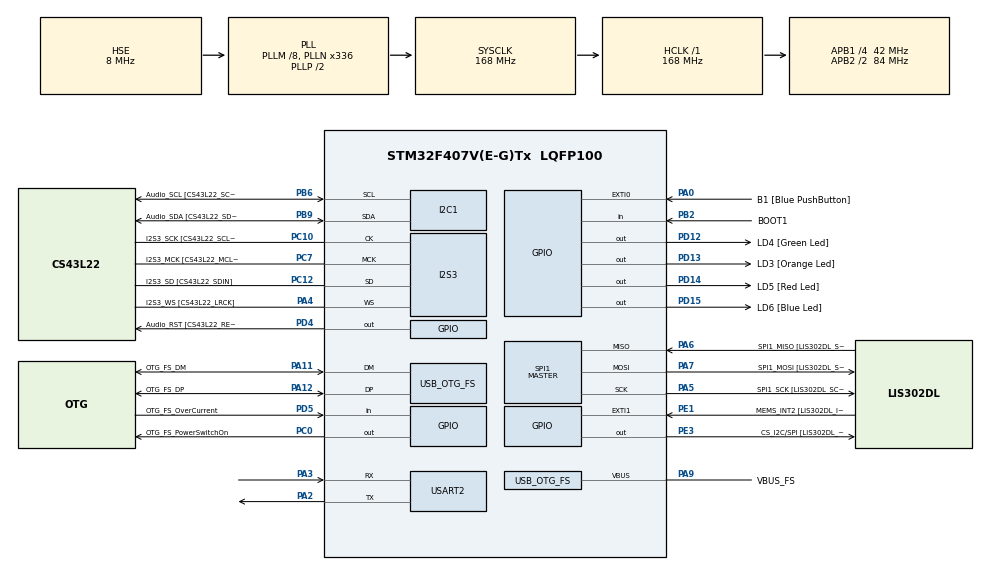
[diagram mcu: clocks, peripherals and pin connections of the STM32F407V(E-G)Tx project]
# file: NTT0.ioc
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I2S3.AudioFreq-Half_Duplex_Master=I2S_AUDIOFREQ_96K
I2S3.ErrorAudioFreq=-2.34 %
I2S3.ErrorAudioFreq-Half_Duplex_Master=0.8 %
I2S3.FullDuplexMode=I2S_FULLDUPLEXMODE_DISABLE
I2S3.Instance=SPI$Index
I2S3.RealAudioFreq=93.75 KHz
I2S3.RealAudioFreq-Half_Duplex_Master=96.774 KHz
I2S3.VirtualMode=I2S_MODE_MASTER
Mcu.Family=STM32F4
Mcu.Name=STM32F407V(E-G)Tx
Mcu.Package=LQFP100
NVIC.EXTI0_IRQn=true\:0\:0\:false\:false\:true\:true\:true\:true
NVIC.OTG_FS_IRQn=true\:0\:0\:false\:false\:true\:true\:true\:true
NVIC.PriorityGroup=NVIC_PRIORITYGROUP_0
NVIC.USART2_IRQn=true\:0\:0\:false\:false\:true\:true\:true\:true
PA0-WKUP.GPIO_Label=B1 [Blue PushButton]
PA0-WKUP.GPIO_ModeDefaultEXTI=GPIO_MODE_IT_FALLING
PA0-WKUP.GPIO_PuPd=GPIO_PULLDOWN
PA0-WKUP.Signal=GPXTI0
PA10.GPIO_Label=OTG_FS_ID
PA10.GPIO_Mode=GPIO_MODE_AF_PP
PA10.GPIO_PuPd=GPIO_NOPULL
PA10.GPIO_Speed=GPIO_SPEED_FREQ_LOW
PA10.Signal=USB_OTG_FS_ID
PA11.GPIO_Label=OTG_FS_DM
PA11.GPIO_Mode=GPIO_MODE_AF_PP
PA11.GPIO_PuPd=GPIO_NOPULL
PA11.GPIO_Speed=GPIO_SPEED_FREQ_LOW
PA11.Mode=Host_Only
PA11.Signal=USB_OTG_FS_DM
PA12.GPIO_Label=OTG_FS_DP
PA12.GPIO_Mode=GPIO_MODE_AF_PP
PA12.GPIO_PuPd=GPIO_NOPULL
PA12.GPIO_Speed=GPIO_SPEED_FREQ_LOW
PA12.Mode=Host_Only
PA12.Signal=USB_OTG_FS_DP
PA13.GPIO_Label=SWDIO
PA13.Mode=Serial_Wire
PA13.Signal=SYS_JTMS-SWDIO
PA14.GPIO_Label=SWCLK
PA14.Mode=Serial_Wire
PA14.Signal=SYS_JTCK-SWCLK
PA2.Mode=Asynchronous
PA2.Signal=USART2_TX
PA3.Mode=Asynchronous
PA3.Signal=USART2_RX
PA4.GPIO_Label=I2S3_WS [CS43L22_LRCK]
PA4.GPIO_Mode=GPIO_MODE_AF_PP
PA4.GPIO_PuPd=GPIO_NOPULL
PA4.GPIO_Speed=GPIO_SPEED_FREQ_LOW
PA4.Mode=Half_Duplex_Master
PA4.Signal=I2S3_WS
PA5.GPIO_Label=SPI1_SCK [LIS302DL_SCL/SPC]
PA5.GPIO_Mode=GPIO_MODE_AF_PP
PA5.GPIO_PuPd=GPIO_NOPULL
PA5.GPIO_Speed=GPIO_SPEED_FREQ_LOW
PA5.Mode=Full_Duplex_Master
PA5.Signal=SPI1_SCK
PA6.GPIO_Label=SPI1_MISO [LIS302DL_SDO]
PA6.GPIO_Mode=GPIO_MODE_AF_PP
PA6.GPIO_PuPd=GPIO_NOPULL
PA6.GPIO_Speed=GPIO_SPEED_FREQ_LOW
PA6.Mode=Full_Duplex_Master
PA6.Signal=SPI1_MISO
PA7.GPIO_Label=SPI1_MOSI [LIS302DL_SDA/SDI/SDO]
PA7.GPIO_Mode=GPIO_MODE_AF_PP
PA7.GPIO_PuPd=GPIO_NOPULL
PA7.GPIO_Speed=GPIO_SPEED_FREQ_LOW
PA7.Mode=Full_Duplex_Master
PA7.Signal=SPI1_MOSI
PA9.GPIO_Label=VBUS_FS
PA9.GPIO_Mode=GPIO_MODE_INPUT
PA9.GPIO_PuPd=GPIO_NOPULL
PA9.Mode=Activate_VBUS
PA9.Signal=USB_OTG_FS_VBUS
PB10.GPIO_Label=CLK_IN [MP45DT02_CLK]
PB10.GPIO_Mode=GPIO_MODE_AF_PP
PB10.GPIO_PuPd=GPIO_NOPULL
PB10.GPIO_Speed=GPIO_SPEED_FREQ_LOW
PB10.Signal=I2S2_CK
PB2.GPIO_Label=BOOT1
PB2.GPIO_Mode=GPIO_MODE_INPUT
PB2.GPIO_PuPd=GPIO_NOPULL
PB2.Signal=GPIO_Input
PB3.GPIO_Label=SWO
PB3.Signal=SYS_JTDO-SWO
PB6.GPIO_Label=Audio_SCL [CS43L22_SCL]
PB6.GPIO_Mode=GPIO_MODE_AF_OD
PB6.GPIO_Pu=GPIO_PULLUP
PB6.GPIO_PuPd=GPIO_NOPULL
PB6.GPIO_Speed=GPIO_SPEED_FREQ_LOW
PB6.Mode=I2C
PB6.Signal=I2C1_SCL
PB9.GPIO_Label=Audio_SDA [CS43L22_SDA]
PB9.GPIO_Mode=GPIO_MODE_AF_OD
PB9.GPIO_Pu=GPIO_PULLUP
PB9.GPIO_PuPd=GPIO_NOPULL
PB9.GPIO_Speed=GPIO_SPEED_FREQ_LOW
PB9.Mode=I2C
PB9.Signal=I2C1_SDA
PC0.GPIO_Label=OTG_FS_PowerSwitchOn
PC0.GPIO_PuPd=GPIO_NOPULL
PC0.GPIO_Speed=GPIO_SPEED_FREQ_LOW
PC0.PinState=GPIO_PIN_SET
PC0.Signal=GPIO_Output
PC10.GPIO_Label=I2S3_SCK [CS43L22_SCLK]
PC10.GPIO_Mode=GPIO_MODE_AF_PP
PC10.GPIO_PuPd=GPIO_NOPULL
PC10.GPIO_Speed=GPIO_SPEED_FREQ_LOW
PC10.Mode=Half_Duplex_Master
PC10.Signal=I2S3_CK
PC12.GPIO_Label=I2S3_SD [CS43L22_SDIN]
PC12.GPIO_Mode=GPIO_MODE_AF_PP
PC12.GPIO_PuPd=GPIO_NOPULL
PC12.GPIO_Speed=GPIO_SPEED_FREQ_LOW
PC12.Mode=Half_Duplex_Master
PC12.Signal=I2S3_SD
PC14-OSC32_IN.GPIO_Label=PC14-OSC32_IN
PC14-OSC32_IN.Mode=LSE-External-Oscillator
PC14-OSC32_IN.Signal=RCC_OSC32_IN
PC15-OSC32_OUT.GPIO_Label=PC15-OSC32_OUT
PC15-OSC32_OUT.Mode=LSE-External-Oscillator
PC15-OSC32_OUT.Signal=RCC_OSC32_OUT
PC3.GPIO_Label=PDM_OUT [MP45DT02_DOUT]
PC3.GPIO_Mode=GPIO_MODE_AF_PP
PC3.GPIO_PuPd=GPIO_NOPULL
PC3.GPIO_Speed=GPIO_SPEED_FREQ_LOW
PC3.Signal=I2S2_SD
PC7.GPIO_Label=I2S3_MCK [CS43L22_MCLK]
PC7.GPIO_Mode=GPIO_MODE_AF_PP
PC7.GPIO_PuPd=GPIO_NOPULL
PC7.GPIO_Speed=GPIO_SPEED_FREQ_LOW
PC7.Mode=Master_Clock_Activated
PC7.Signal=I2S3_MCK
PD12.GPIO_Label=LD4 [Green Led]
PD12.GPIO_PuPd=GPIO_NOPULL
PD12.GPIO_Speed=GPIO_SPEED_FREQ_LOW
PD12.Signal=GPIO_Output
PD13.GPIO_Label=LD3 [Orange Led]
PD13.GPIO_PuPd=GPIO_NOPULL
PD13.GPIO_Speed=GPIO_SPEED_FREQ_LOW
PD13.Signal=GPIO_Output
PD14.GPIO_Label=LD5 [Red Led]
PD14.GPIO_PuPd=GPIO_NOPULL
PD14.GPIO_Speed=GPIO_SPEED_FREQ_LOW
PD14.Signal=GPIO_Output
PD15.GPIO_Label=LD6 [Blue Led]
PD15.GPIO_PuPd=GPIO_NOPULL
PD15.GPIO_Speed=GPIO_SPEED_FREQ_LOW
PD15.Signal=GPIO_Output
PD4.GPIO_Label=Audio_RST [CS43L22_RESET]
PD4.GPIO_PuPd=GPIO_NOPULL
PD4.GPIO_Speed=GPIO_SPEED_FREQ_LOW
PD4.Signal=GPIO_Output
PD5.GPIO_Label=OTG_FS_OverCurrent
PD5.GPIO_Mode=GPIO_MODE_INPUT
PD5.GPIO_PuPd=GPIO_NOPULL
PD5.Signal=GPIO_Input
PE1.GPIO_Label=MEMS_INT2 [LIS302DL_INT2]
PE1.GPIO_ModeDefaultEXTI=GPIO_MODE_EVT_RISING
PE1.GPIO_PuPd=GPIO_NOPULL
PE1.Signal=GPXTI1
PE3.GPIO_Label=CS_I2C/SPI [LIS302DL_CS_I2C/SPI]
PE3.GPIO_PuPd=GPIO_NOPULL
PE3.GPIO_Speed=GPIO_SPEED_FREQ_LOW
PE3.Signal=GPIO_Output
PH0-OSC_IN.GPIO_Label=PH0-OSC_IN
PH0-OSC_IN.Mode=HSE-External-Oscillator
PH0-OSC_IN.Signal=RCC_OSC_IN
PH1-OSC_OUT.GPIO_Label=PH1-OSC_OUT
PH1-OSC_OUT.Mode=HSE-External-Oscillator
PH1-OSC_OUT.Signal=RCC_OSC_OUT
ProjectManager.HeapSize=0x200
ProjectManager.StackSize=0x400
ProjectManager.TargetToolchain=STM32CubeIDE
RCC.48MHZClocksFreq_Value=48000000
RCC.AHBFreq_Value=168000000
RCC.APB1CLKDivider=RCC_HCLK_DIV4
RCC.APB1Freq_Value=42000000
RCC.APB1TimFreq_Value=84000000
RCC.APB2CLKDivider=RCC_HCLK_DIV2
RCC.APB2Freq_Value=84000000
RCC.APB2TimFreq_Value=168000000
RCC.CortexFreq_Value=168000000
RCC.HCLKFreq_Value=168000000
RCC.HSE_VALUE=8000000
RCC.HSI_VALUE=16000000
RCC.PLLM=8
RCC.PLLN=336
RCC.PLLQ=7
RCC.SYSCLKFreq_VALUE=168000000
RCC.SYSCLKSource=RCC_SYSCLKSOURCE_PLLCLK
RCC.VCOOutputFreq_Value=336000000
SPI1.BaudRatePrescaler-Full_Duplex_Master=SPI_BAUDRATEPRESCALER_2
SPI1.CalculateBaudRate-Full_Duplex_Master=42.0 MBits/s
SPI1.Direction=SPI_DIRECTION_2LINES
SPI1.Mode=SPI_MODE_MASTER
SPI1.Mode-Full_Duplex_Master=SPI_MODE_MASTER
SPI1.VirtualType=VM_MASTER
TIM2.Period=10000000 - 1
TIM2.Prescaler=84 - 1
USART2.VirtualMode=VM_ASYNC
USB_HOST.BSP.number=1
USB_HOST.USBH_HandleTypeDef-CDC_FS=hUsbHostFS
USB_HOST.VirtualModeFS=Cdc
USB_HOST0.BSP.STBoard=false
USB_HOST0.BSP.api=Unknown
USB_HOST0.BSP.instance=PC0
USB_HOST0.BSP.ip=GPIO
USB_HOST0.BSP.mode=Output
USB_HOST0.BSP.name=Drive_VBUS_FS
USB_HOST0.BSP.solution=PC0
USB_OTG_FS.VirtualMode=Host_Only
USB_OTG_FS.phy_itface=HCD_PHY_EMBEDDED
VP_RNG_VS_RNG.Mode=RNG_Activate
VP_TIM2_VS_ClockSourceINT.Mode=Internal
VP_USB_HOST_VS_USB_HOST_CDC_FS.Mode=CDC_FS
board=STM32F407G-DISC1

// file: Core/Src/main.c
/* USER CODE BEGIN Header */
/**
  ******************************************************************************
  * @file           : main.c
  * @brief          : Main program body
  ******************************************************************************
  * @attention
  *
  * Copyright (c) 2024 STMicroelectronics.
  * All rights reserved.
  *
  * This software is licensed under terms that can be found in the LICENSE file
  * in the root directory of this software component.
  * If no LICENSE file comes with this software, it is provided AS-IS.
  *
  ******************************************************************************
  */
/* USER CODE END Header */
#include "main.h"
#include "usb_host.h"

/* USER CODE BEGIN Includes */

#include <stdio.h>
#include <math.h>
#include <string.h>

/* USER CODE END Includes */

I2C_HandleTypeDef hi2c1;

I2S_HandleTypeDef hi2s3;

RNG_HandleTypeDef hrng;

SPI_HandleTypeDef hspi1;

TIM_HandleTypeDef htim2;

UART_HandleTypeDef huart2;

/* USER CODE BEGIN PV */

//int arr1[] = {1577, 3104, 1722, 165, 1060, 2094, 1990, 1658, 3210, 1242, 1952, 1466, 2389, 894, 2067, 570, 1154, 572, 3095, 388, 2532, 3274, 1026, 2181, 2888, 3318, 2465, 601, 1270, 404, 2989, 302, 2801, 1352, 1933, 2292, 412, 1449, 1778, 1295, 2502, 2623, 837, 2263, 1953, 1813, 2135, 1066, 255, 3297, 2247, 57, 382, 2947, 1633, 2909, 3215, 2736, 2561, 4, 2506, 2021, 1364, 999, 2991, 1332, 2882, 257, 782, 2324, 908, 977, 3290, 583, 3289, 2224, 1834, 373, 329, 1310, 2080, 2004, 446, 1234, 2257, 1192, 2894, 511, 2242, 1362, 2213, 832, 3274, 2470, 2241, 2406, 1178, 1822, 375, 2442, 3268, 1576, 1298, 2357, 991, 1189, 753, 775, 764, 135, 2509, 2689, 1065, 1951, 282, 367, 2780, 3103, 533, 612, 158, 328, 2864, 2214, 2799, 1602, 2888, 2148, 1128, 2137, 3324, 964, 881, 2783, 2415, 1717, 2374, 1127, 1845, 2017, 2704, 2626, 2868, 3249, 1463, 337, 1328, 2509, 472, 1992, 2404, 2581, 1373, 779, 995, 66, 2996, 1110, 479, 2889, 903, 1523, 3254, 698, 1362, 1745, 254, 412, 3207, 599, 2857, 896, 185, 2350, 2597, 2188, 2466, 2787, 303, 109, 509, 2600, 772, 2483, 2359, 490, 1602, 374, 1516, 475, 149, 2480, 88, 797, 757, 2941, 507, 1962, 862, 2978, 3279, 250, 2782, 93, 2229, 1743, 2541, 415, 1064, 286, 904, 294, 2649, 1233, 1434, 1786, 738, 250, 2062, 1913, 161, 2443, 413, 2864, 1602, 816, 1065, 1468, 2996, 1926, 2333, 693, 2857, 2755, 833, 3143, 237, 3230, 2769, 648, 663, 1402, 2168, 1026, 480, 2444, 1811, 2726, 716, 54, 1931, 2790, 1678, 2331, 2083, 1275};
//int arr2[] = {1896, 2511, 1529, 1094, 567, 762, 2771, 26, 1385, 2059, 1899, 2476, 331, 1368, 2270, 2525, 2867, 167, 2982, 1552, 693, 2881, 1851, 2969, 1730, 643, 689, 974, 210, 454, 542, 2073, 2418, 259, 3171, 2819, 1571, 3234, 3056, 416, 1192, 839, 2761, 918, 2972, 3248, 1727, 359, 3164, 1092, 859, 1624, 1151, 1399, 3315, 176, 817, 2903, 21, 1684, 224, 1551, 2014, 569, 96, 969, 1739, 3015, 458, 2444, 15, 496, 3130, 2370, 809, 831, 1352, 33, 342, 545, 2210, 71, 2051, 347, 2346, 2034, 2201, 811, 1720, 281, 1630, 787, 2616, 3133, 382, 2870, 2374, 595, 706, 2494, 2947, 168, 221, 1105, 2273, 2798, 2483, 611, 3052, 1099, 3018, 2356, 140, 496, 2889, 1648, 969, 662, 2503, 2068, 176, 3014, 1498, 2761, 2138, 2417, 2315, 3172, 2816, 355, 1422, 450, 2392, 1497, 1848, 860, 1647, 814, 2352, 3054, 75, 1552, 3274, 2489, 1346, 2, 1775, 457, 874, 908, 1818, 1104, 1330, 363, 1258, 2578, 1166, 422, 2119, 3211, 225, 104, 1562, 3197, 2295, 3307, 1755, 2037, 1417, 2905, 3185, 1016, 2318, 3021, 271, 1740, 2653, 945, 392, 3115, 1642, 2088, 1527, 2295, 1512, 569, 2734, 1189, 700, 2837, 1060, 120, 206, 3316, 707, 1077, 672, 492, 2484, 607, 48, 199, 249, 1844, 854, 3221, 1592, 1205, 2504, 60, 3271, 1452, 1167, 576, 1969, 2301, 1137, 562, 354, 3061, 2277, 1212, 2850, 483, 268, 1720, 1848, 583, 2882, 2301, 3130, 3255, 1568, 2409, 3288, 692, 2716, 2930, 1122, 3160, 2446, 2492, 2025, 1428, 406, 198, 1133, 2166, 525, 709, 3270, 2579, 345, 664, 3195, 3234};
//int result1[256], result2[256], result3[256], result4[256];

int randArr[256], r1[256], r2[256];

//int iteration = 10;
double double_precision = 1000;
//char arrNum = 1;
int last_gpio_exti = 0;

/* USER CODE END PV */

void SystemClock_Config(void);
static void MX_GPIO_Init(void);
static void MX_I2C1_Init(void);
static void MX_I2S3_Init(void);
static void MX_SPI1_Init(void);
static void MX_USART2_UART_Init(void);
static void MX_TIM2_Init(void);
static void MX_RNG_Init(void);
void MX_USB_HOST_Process(void);

/* USER CODE BEGIN PFP */

void printArray(int arr[], char arrName[], int arrSize);
void arrCopy(const int from[], int to[], int arrSize);
int bit_reverse_7(int num);
int positive_modulo(int num, int modulus);
int modular_power(int x, int y, int modulus);
void ntt(int arr[], int result[]);
void intt(int arr[], int result[]);

//void multiple_calculations_arr1(int iter);
//void multiple_calculations_arr2(int iter);
//void doArr1();
//void doArr2();

//void turn_on_one_LED_board(int ledNum);

//void timing_and_iteration_of_arr1_and_arr2();

void generate_random_array(int arr[], int size, uint32_t min, uint32_t max);
void random_array_ntt_intt();

/* USER CODE END PFP */

int main(void)
{

  /* MCU Configuration--------------------------------------------------------*/

  /* Reset of all peripherals, Initializes the Flash interface and the Systick. */
  HAL_Init();

  /* Configure the system clock */
  SystemClock_Config();

  /* Initialize all configured peripherals */
  MX_GPIO_Init();
  MX_I2C1_Init();
  MX_I2S3_Init();
  MX_SPI1_Init();
  MX_USB_HOST_Init();
  MX_USART2_UART_Init();
  MX_TIM2_Init();
  MX_RNG_Init();
  /* USER CODE BEGIN 2 */

//  HAL_TIM_Base_Start(&htim2);
//  int elapsed_time;
//  HAL_TIM_Base_Start(&htim2);
//  elapsed_time = __HAL_TIM_GET_COUNTER(&htim2);
//  HAL_Delay(2100);
//  elapsed_time = __HAL_TIM_GET_COUNTER(&htim2) - elapsed_time;
//
//  char str[100];
//  sprintf(str, "%.3f", ((double)elapsed_time / double_precision));
//  HAL_UART_Transmit(&huart2, (const uint8_t*)str, strlen(str), 200);

  /* USER CODE END 2 */

  /* Infinite loop */
  while (1)
  {
    MX_USB_HOST_Process();

    /* USER CODE BEGIN 3 */

//    HAL_GPIO_WritePin(GPIOD, GPIO_PIN_15, GPIO_PIN_SET);
//    HAL_Delay(1000);
//    HAL_GPIO_WritePin(GPIOD, GPIO_PIN_15, GPIO_PIN_RESET);
//
//    HAL_GPIO_WritePin(GPIOD, GPIO_PIN_14, GPIO_PIN_SET);
//    HAL_Delay(1000);
//    HAL_GPIO_WritePin(GPIOD, GPIO_PIN_14, GPIO_PIN_RESET);
//
//    HAL_GPIO_WritePin(GPIOD, GPIO_PIN_13, GPIO_PIN_SET);
//    HAL_Delay(1000);
//    HAL_GPIO_WritePin(GPIOD, GPIO_PIN_13, GPIO_PIN_RESET);
//
//    HAL_GPIO_WritePin(GPIOD, GPIO_PIN_12, GPIO_PIN_SET);
//    HAL_Delay(1000);
//    HAL_GPIO_WritePin(GPIOD, GPIO_PIN_12, GPIO_PIN_RESET);

//    uint32_t myRandNum;
//    HAL_RNG_GenerateRandomNumber(&hrng, &myRandNum);
//    myRandNum %= 3329;
//    char str[5];
//    sprintf(str, "%d\n", (int)myRandNum);
//    HAL_UART_Transmit(&huart2, (const uint8_t*)str, strlen(str), 200);
//    HAL_Delay(1000);
  }
  /* USER CODE END 3 */
}

void SystemClock_Config(void)
{
  RCC_OscInitTypeDef RCC_OscInitStruct = {0};
  RCC_ClkInitTypeDef RCC_ClkInitStruct = {0};

  /** Configure the main internal regulator output voltage
  */
  __HAL_RCC_PWR_CLK_ENABLE();
  __HAL_PWR_VOLTAGESCALING_CONFIG(PWR_REGULATOR_VOLTAGE_SCALE1);

  /** Initializes the RCC Oscillators according to the specified parameters
  * in the RCC_OscInitTypeDef structure.
  */
  RCC_OscInitStruct.OscillatorType = RCC_OSCILLATORTYPE_HSE;
  RCC_OscInitStruct.HSEState = RCC_HSE_ON;
  RCC_OscInitStruct.PLL.PLLState = RCC_PLL_ON;
  RCC_OscInitStruct.PLL.PLLSource = RCC_PLLSOURCE_HSE;
  RCC_OscInitStruct.PLL.PLLM = 8;
  RCC_OscInitStruct.PLL.PLLN = 336;
  RCC_OscInitStruct.PLL.PLLP = RCC_PLLP_DIV2;
  RCC_OscInitStruct.PLL.PLLQ = 7;
  if (HAL_RCC_OscConfig(&RCC_OscInitStruct) != HAL_OK)
  {
    Error_Handler();
  }

  /** Initializes the CPU, AHB and APB buses clocks
  */
  RCC_ClkInitStruct.ClockType = RCC_CLOCKTYPE_HCLK|RCC_CLOCKTYPE_SYSCLK
                              |RCC_CLOCKTYPE_PCLK1|RCC_CLOCKTYPE_PCLK2;
  RCC_ClkInitStruct.SYSCLKSource = RCC_SYSCLKSOURCE_PLLCLK;
  RCC_ClkInitStruct.AHBCLKDivider = RCC_SYSCLK_DIV1;
  RCC_ClkInitStruct.APB1CLKDivider = RCC_HCLK_DIV4;
  RCC_ClkInitStruct.APB2CLKDivider = RCC_HCLK_DIV2;

  if (HAL_RCC_ClockConfig(&RCC_ClkInitStruct, FLASH_LATENCY_5) != HAL_OK)
  {
    Error_Handler();
  }
}

static void MX_I2C1_Init(void)
{

  hi2c1.Instance = I2C1;
  hi2c1.Init.ClockSpeed = 100000;
  hi2c1.Init.DutyCycle = I2C_DUTYCYCLE_2;
  hi2c1.Init.OwnAddress1 = 0;
  hi2c1.Init.AddressingMode = I2C_ADDRESSINGMODE_7BIT;
  hi2c1.Init.DualAddressMode = I2C_DUALADDRESS_DISABLE;
  hi2c1.Init.OwnAddress2 = 0;
  hi2c1.Init.GeneralCallMode = I2C_GENERALCALL_DISABLE;
  hi2c1.Init.NoStretchMode = I2C_NOSTRETCH_DISABLE;
  if (HAL_I2C_Init(&hi2c1) != HAL_OK)
  {
    Error_Handler();
  }

}

static void MX_I2S3_Init(void)
{

  hi2s3.Instance = SPI3;
  hi2s3.Init.Mode = I2S_MODE_MASTER_TX;
  hi2s3.Init.Standard = I2S_STANDARD_PHILIPS;
  hi2s3.Init.DataFormat = I2S_DATAFORMAT_16B;
  hi2s3.Init.MCLKOutput = I2S_MCLKOUTPUT_ENABLE;
  hi2s3.Init.AudioFreq = I2S_AUDIOFREQ_96K;
  hi2s3.Init.CPOL = I2S_CPOL_LOW;
  hi2s3.Init.ClockSource = I2S_CLOCK_PLL;
  hi2s3.Init.FullDuplexMode = I2S_FULLDUPLEXMODE_DISABLE;
  if (HAL_I2S_Init(&hi2s3) != HAL_OK)
  {
    Error_Handler();
  }

}

static void MX_RNG_Init(void)
{

  hrng.Instance = RNG;
  if (HAL_RNG_Init(&hrng) != HAL_OK)
  {
    Error_Handler();
  }

}

static void MX_SPI1_Init(void)
{

  /* SPI1 parameter configuration*/
  hspi1.Instance = SPI1;
  hspi1.Init.Mode = SPI_MODE_MASTER;
  hspi1.Init.Direction = SPI_DIRECTION_2LINES;
  hspi1.Init.DataSize = SPI_DATASIZE_8BIT;
  hspi1.Init.CLKPolarity = SPI_POLARITY_LOW;
  hspi1.Init.CLKPhase = SPI_PHASE_1EDGE;
  hspi1.Init.NSS = SPI_NSS_SOFT;
  hspi1.Init.BaudRatePrescaler = SPI_BAUDRATEPRESCALER_2;
  hspi1.Init.FirstBit = SPI_FIRSTBIT_MSB;
  hspi1.Init.TIMode = SPI_TIMODE_DISABLE;
  hspi1.Init.CRCCalculation = SPI_CRCCALCULATION_DISABLE;
  hspi1.Init.CRCPolynomial = 10;
  if (HAL_SPI_Init(&hspi1) != HAL_OK)
  {
    Error_Handler();
  }

}

static void MX_TIM2_Init(void)
{

  TIM_ClockConfigTypeDef sClockSourceConfig = {0};
  TIM_MasterConfigTypeDef sMasterConfig = {0};

  htim2.Instance = TIM2;
  htim2.Init.Prescaler = 84 - 1;
  htim2.Init.CounterMode = TIM_COUNTERMODE_UP;
  htim2.Init.Period = 10000000 - 1;
  htim2.Init.ClockDivision = TIM_CLOCKDIVISION_DIV1;
  htim2.Init.AutoReloadPreload = TIM_AUTORELOAD_PRELOAD_DISABLE;
  if (HAL_TIM_Base_Init(&htim2) != HAL_OK)
  {
    Error_Handler();
  }
  sClockSourceConfig.ClockSource = TIM_CLOCKSOURCE_INTERNAL;
  if (HAL_TIM_ConfigClockSource(&htim2, &sClockSourceConfig) != HAL_OK)
  {
    Error_Handler();
  }
  sMasterConfig.MasterOutputTrigger = TIM_TRGO_RESET;
  sMasterConfig.MasterSlaveMode = TIM_MASTERSLAVEMODE_DISABLE;
  if (HAL_TIMEx_MasterConfigSynchronization(&htim2, &sMasterConfig) != HAL_OK)
  {
    Error_Handler();
  }

}

static void MX_USART2_UART_Init(void)
{

  huart2.Instance = USART2;
  huart2.Init.BaudRate = 115200;
  huart2.Init.WordLength = UART_WORDLENGTH_8B;
  huart2.Init.StopBits = UART_STOPBITS_1;
  huart2.Init.Parity = UART_PARITY_NONE;
  huart2.Init.Mode = UART_MODE_TX_RX;
  huart2.Init.HwFlowCtl = UART_HWCONTROL_NONE;
  huart2.Init.OverSampling = UART_OVERSAMPLING_16;
  if (HAL_UART_Init(&huart2) != HAL_OK)
  {
    Error_Handler();
  }

}

static void MX_GPIO_Init(void)
{
  GPIO_InitTypeDef GPIO_InitStruct = {0};

  /* GPIO Ports Clock Enable */
  __HAL_RCC_GPIOE_CLK_ENABLE();
  __HAL_RCC_GPIOC_CLK_ENABLE();
  __HAL_RCC_GPIOH_CLK_ENABLE();
  __HAL_RCC_GPIOA_CLK_ENABLE();
  __HAL_RCC_GPIOB_CLK_ENABLE();
  __HAL_RCC_GPIOD_CLK_ENABLE();

  /*Configure GPIO pin Output Level */
  HAL_GPIO_WritePin(CS_I2C_SPI_GPIO_Port, CS_I2C_SPI_Pin, GPIO_PIN_RESET);

  /*Configure GPIO pin Output Level */
  HAL_GPIO_WritePin(OTG_FS_PowerSwitchOn_GPIO_Port, OTG_FS_PowerSwitchOn_Pin, GPIO_PIN_SET);

  /*Configure GPIO pin Output Level */
  HAL_GPIO_WritePin(GPIOD, LD4_Pin|LD3_Pin|LD5_Pin|LD6_Pin
                          |Audio_RST_Pin, GPIO_PIN_RESET);

  /*Configure GPIO pin : CS_I2C_SPI_Pin */
  GPIO_InitStruct.Pin = CS_I2C_SPI_Pin;
  GPIO_InitStruct.Mode = GPIO_MODE_OUTPUT_PP;
  GPIO_InitStruct.Pull = GPIO_NOPULL;
  GPIO_InitStruct.Speed = GPIO_SPEED_FREQ_LOW;
  HAL_GPIO_Init(CS_I2C_SPI_GPIO_Port, &GPIO_InitStruct);

  /*Configure GPIO pin : OTG_FS_PowerSwitchOn_Pin */
  GPIO_InitStruct.Pin = OTG_FS_PowerSwitchOn_Pin;
  GPIO_InitStruct.Mode = GPIO_MODE_OUTPUT_PP;
  GPIO_InitStruct.Pull = GPIO_NOPULL;
  GPIO_InitStruct.Speed = GPIO_SPEED_FREQ_LOW;
  HAL_GPIO_Init(OTG_FS_PowerSwitchOn_GPIO_Port, &GPIO_InitStruct);

  /*Configure GPIO pin : PDM_OUT_Pin */
  GPIO_InitStruct.Pin = PDM_OUT_Pin;
  GPIO_InitStruct.Mode = GPIO_MODE_AF_PP;
  GPIO_InitStruct.Pull = GPIO_NOPULL;
  GPIO_InitStruct.Speed = GPIO_SPEED_FREQ_LOW;
  GPIO_InitStruct.Alternate = GPIO_AF5_SPI2;
  HAL_GPIO_Init(PDM_OUT_GPIO_Port, &GPIO_InitStruct);

  /*Configure GPIO pin : B1_Pin */
  GPIO_InitStruct.Pin = B1_Pin;
  GPIO_InitStruct.Mode = GPIO_MODE_IT_FALLING;
  GPIO_InitStruct.Pull = GPIO_PULLDOWN;
  HAL_GPIO_Init(B1_GPIO_Port, &GPIO_InitStruct);

  /*Configure GPIO pin : BOOT1_Pin */
  GPIO_InitStruct.Pin = BOOT1_Pin;
  GPIO_InitStruct.Mode = GPIO_MODE_INPUT;
  GPIO_InitStruct.Pull = GPIO_NOPULL;
  HAL_GPIO_Init(BOOT1_GPIO_Port, &GPIO_InitStruct);

  /*Configure GPIO pin : CLK_IN_Pin */
  GPIO_InitStruct.Pin = CLK_IN_Pin;
  GPIO_InitStruct.Mode = GPIO_MODE_AF_PP;
  GPIO_InitStruct.Pull = GPIO_NOPULL;
  GPIO_InitStruct.Speed = GPIO_SPEED_FREQ_LOW;
  GPIO_InitStruct.Alternate = GPIO_AF5_SPI2;
  HAL_GPIO_Init(CLK_IN_GPIO_Port, &GPIO_InitStruct);

  /*Configure GPIO pins : LD4_Pin LD3_Pin LD5_Pin LD6_Pin
                           Audio_RST_Pin */
  GPIO_InitStruct.Pin = LD4_Pin|LD3_Pin|LD5_Pin|LD6_Pin
                          |Audio_RST_Pin;
  GPIO_InitStruct.Mode = GPIO_MODE_OUTPUT_PP;
  GPIO_InitStruct.Pull = GPIO_NOPULL;
  GPIO_InitStruct.Speed = GPIO_SPEED_FREQ_LOW;
  HAL_GPIO_Init(GPIOD, &GPIO_InitStruct);

  /*Configure GPIO pin : OTG_FS_OverCurrent_Pin */
  GPIO_InitStruct.Pin = OTG_FS_OverCurrent_Pin;
  GPIO_InitStruct.Mode = GPIO_MODE_INPUT;
  GPIO_InitStruct.Pull = GPIO_NOPULL;
  HAL_GPIO_Init(OTG_FS_OverCurrent_GPIO_Port, &GPIO_InitStruct);

  /*Configure GPIO pin : MEMS_INT2_Pin */
  GPIO_InitStruct.Pin = MEMS_INT2_Pin;
  GPIO_InitStruct.Mode = GPIO_MODE_EVT_RISING;
  GPIO_InitStruct.Pull = GPIO_NOPULL;
  HAL_GPIO_Init(MEMS_INT2_GPIO_Port, &GPIO_InitStruct);

  /* EXTI interrupt init*/
  HAL_NVIC_SetPriority(EXTI0_IRQn, 0, 0);
  HAL_NVIC_EnableIRQ(EXTI0_IRQn);

}

/* USER CODE BEGIN 4 */

void printArray(int arr[], char arrName[], int arrSize) {
	char stringToPrint[2000], temp[100];
    sprintf(stringToPrint, "%s = {", arrName);
    int i;

    for (i = 0; i < (arrSize - 1); i++) {
        sprintf(temp, "%d, ", arr[i]);
        strcat(stringToPrint, temp);
    }

    if (arrSize != 0) {
        sprintf(temp, "%d}\n\n", arr[arrSize - 1]);
        strcat(stringToPrint, temp);
        HAL_UART_Transmit(&huart2, (const uint8_t*)stringToPrint, strlen(stringToPrint), 200);
    }
}

void arrCopy(const int from[], int to[], int arrSize) {
    int i;

    for (i = 0; i < arrSize; i++)
        to[i] = from[i];
}

int bit_reverse_7(int num) {
//    if (num > 127 || num < 0) {
//        printf("The value should be a number from 0 to 127.\nProvided value: %d", num);
//        exit(1);
//    }

    char binary[8];
    int bit_presenter = 64, i, result = 0;

    for (i = 0; i < 7; i++) {
        if (num >= bit_presenter) {
            binary[i] = '1';
            num -= bit_presenter;
        } else
            binary[i] = '0';

        bit_presenter >>= 1;
    }
    binary[7] = '\0';

    for (i = 0; i < 7; i++)
        if (binary[i] == '1')
            result += (int)pow(2, i);

    return result;
}

int positive_modulo(int num, int modulus) {
    int result = num % modulus;

    if (result < 0)
        result += modulus;

    return result;

//    return ((num % modulus) + modulus) % modulus;

//    int m = num % modulus;
//    return m + ((m >> 31) & modulus);

//    return num % modulus;
}

int modular_power(int x, int y, int modulus) {
    int result = 1;
    x = positive_modulo(x, modulus);

    if (x == 0)
        return 0;

    while (y > 0) {
        if (y & 1)                  // If y is odd
            result = positive_modulo((result * x), modulus);

        // y should be even now
        y >>= 1;                    // y /= 2
        x = positive_modulo((x * x), modulus);
    }

    return result;
}

void ntt(int arr[], int result[]) {
    int len, start, i = 1;
    arrCopy(arr, result, 256);

    for (len = 128; len >= 2; len >>= 1) {
        for (start = 0; start < 256; start += (len << 1)) {
            int j, zeta = modular_power(17, bit_reverse_7(i), 3329);
            i++;

            for (j = start; j < (start + len); j++) {
                int t = positive_modulo((zeta * result[j + len]), 3329);
                result[j + len] = positive_modulo(result[j] - t, 3329);
                result[j] = positive_modulo((result[j] + t), 3329);
            }
        }
    }
}

void intt(int arr[], int result[]) {
    int len, start, i = 127;
    arrCopy(arr, result, 256);

    for (len = 2; len <= 128; len <<= 1) {
        for (start = 0; start < 256; start += len << 1) {
            int j, zeta = modular_power(17, bit_reverse_7(i), 3329);
            i--;

            for (j = start; j < (start + len); j++) {
                int t = result[j];
                result[j] = positive_modulo((t + result[j + len]), 3329);
                result[j + len] = positive_modulo((zeta * (result[j + len] - t)), 3329);
            }
        }
    }

    for (i = 0; i < 256; i++)
        result[i] = positive_modulo((result[i] * 3303), 3329);
}

//void multiple_calculations_arr1(int iter) {
//	int i, j, sum[256];
//	char str[100];
//	sprintf(str, "Average result of performing NTT and INTT on arr1 after %d times", iter);
//
//	for (i = 0; i < 256; i++)
//		sum[i] = 0;
//
//	for (i = 0; i < iter; i++) {
//		ntt (arr1, result1);
//		intt(result1, result2);
//
//		for (j = 0; j < 256; j++)
//			sum[j] += result2[j];
//	}
//
//	for (i = 0; i < 256; i++)
//		sum[i] /= iter;
//
//	printArray(sum, str, 256);
//}
//
//void multiple_calculations_arr2(int iter) {
//	int i, j, sum[256];
//	char str[100];
//	sprintf(str, "Average result of performing NTT and INTT on arr2 after %d times", iter);
//
//	for (i = 0; i < 256; i++)
//		sum[i] = 0;
//
//	for (i = 0; i < iter; i++) {
//		ntt (arr2, result3);
//		intt(result3, result4);
//
//		for (j = 0; j < 256; j++)
//			sum[j] += result4[j];
//	}
//
//	for (i = 0; i < 256; i++)
//		sum[i] /= iter;
//
//	printArray(sum, str, 256);
//}
//
//void doArr1() {
//	HAL_TIM_Base_Start(&htim2);
//	int ntt_timeLapse = __HAL_TIM_GET_COUNTER(&htim2);
//	ntt (arr1, result1);
//	ntt_timeLapse = __HAL_TIM_GET_COUNTER(&htim2) - ntt_timeLapse;
//
//	int intt_timeLapse = __HAL_TIM_GET_COUNTER(&htim2);
//	intt(result1, result2);
//	intt_timeLapse = __HAL_TIM_GET_COUNTER(&htim2) - intt_timeLapse;
//	HAL_TIM_Base_Stop(&htim2);
//
//	char arr1Name[] = "Arr1", ntt1Name[] = "NTT of arr1", intt1Name[] = "INTT of result1", str[100];
//	printArray(arr1, arr1Name, 256);
//	printArray(result1, ntt1Name, 256);
//	printArray(result2, intt1Name, 256);
//
//	sprintf(str, "It took %.3f milliseconds to do NTT and %.3f milliseconds to do INTT operations on arr1.\n\n", ((double)ntt_timeLapse / double_precision), ((double)intt_timeLapse / double_precision));
//	HAL_UART_Transmit(&huart2, (const uint8_t*)str, strlen(str), 200);
//}
//
//void doArr2() {
//	HAL_TIM_Base_Start(&htim2);
//	int ntt_timeLapse = __HAL_TIM_GET_COUNTER(&htim2);
//	ntt (arr2, result3);
//	ntt_timeLapse = __HAL_TIM_GET_COUNTER(&htim2) - ntt_timeLapse;
//
//	int intt_timeLapse = __HAL_TIM_GET_COUNTER(&htim2);
//	intt(result3, result4);
//	intt_timeLapse = __HAL_TIM_GET_COUNTER(&htim2) - intt_timeLapse;
//	HAL_TIM_Base_Stop(&htim2);
//
//	char arr2Name[] = "Arr2", ntt2Name[] = "NTT of arr2", intt2Name[] = "INTT of result3", str[100];
//	printArray(arr2, arr2Name, 256);
//	printArray(result3, ntt2Name, 256);
//	printArray(result4, intt2Name, 256);
//
//	sprintf(str, "It took %.3f milliseconds to do NTT and %.3f milliseconds to do INTT operations on arr2.\n\n", ((double)ntt_timeLapse / double_precision), ((double)intt_timeLapse / double_precision));
//	HAL_UART_Transmit(&huart2, (const uint8_t*)str, strlen(str), 200);
//}
//
//void turn_on_one_LED_board(int LED_num) {
//	switch (LED_num) {
//	case 1:
//		HAL_GPIO_WritePin(GPIOD, GPIO_PIN_15, GPIO_PIN_SET);
//		HAL_GPIO_WritePin(GPIOD, GPIO_PIN_14, GPIO_PIN_RESET);
//		HAL_GPIO_WritePin(GPIOD, GPIO_PIN_13, GPIO_PIN_RESET);
//		HAL_GPIO_WritePin(GPIOD, GPIO_PIN_12, GPIO_PIN_RESET);
//		break;
//	case 2:
//		HAL_GPIO_WritePin(GPIOD, GPIO_PIN_15, GPIO_PIN_RESET);
//		HAL_GPIO_WritePin(GPIOD, GPIO_PIN_14, GPIO_PIN_SET);
//		HAL_GPIO_WritePin(GPIOD, GPIO_PIN_13, GPIO_PIN_RESET);
//		HAL_GPIO_WritePin(GPIOD, GPIO_PIN_12, GPIO_PIN_RESET);
//		break;
//	case 3:
//		HAL_GPIO_WritePin(GPIOD, GPIO_PIN_15, GPIO_PIN_RESET);
//		HAL_GPIO_WritePin(GPIOD, GPIO_PIN_14, GPIO_PIN_RESET);
//		HAL_GPIO_WritePin(GPIOD, GPIO_PIN_13, GPIO_PIN_SET);
//		HAL_GPIO_WritePin(GPIOD, GPIO_PIN_12, GPIO_PIN_RESET);
//		break;
//	case 4:
//		HAL_GPIO_WritePin(GPIOD, GPIO_PIN_15, GPIO_PIN_RESET);
//		HAL_GPIO_WritePin(GPIOD, GPIO_PIN_14, GPIO_PIN_RESET);
//		HAL_GPIO_WritePin(GPIOD, GPIO_PIN_13, GPIO_PIN_RESET);
//		HAL_GPIO_WritePin(GPIOD, GPIO_PIN_12, GPIO_PIN_SET);
//		break;
//	default:
//		HAL_GPIO_WritePin(GPIOD, GPIO_PIN_15, GPIO_PIN_RESET);
//		HAL_GPIO_WritePin(GPIOD, GPIO_PIN_14, GPIO_PIN_RESET);
//		HAL_GPIO_WritePin(GPIOD, GPIO_PIN_13, GPIO_PIN_RESET);
//		HAL_GPIO_WritePin(GPIOD, GPIO_PIN_12, GPIO_PIN_RESET);
//	}
//}
//
//void timing_and_iteration_of_arr1_and_arr2() {
//	switch (arrNum) {
//	case 1:
//		turn_on_one_LED_board(1);
//		doArr1();
//		arrNum++;
//		break;
//	case 2:
//		turn_on_one_LED_board(2);
//		doArr2();
//		arrNum++;
//		break;
//	case 3:
//		turn_on_one_LED_board(3);
//		multiple_calculations_arr1(iteration);
//		arrNum++;
//		break;
//	case 4:
//		turn_on_one_LED_board(4);
//		multiple_calculations_arr2(iteration);
//		arrNum = 1;
//		break;
//	}
//}

void generate_random_array(int arr[], int size, uint32_t min, uint32_t max) {
	int i;
	uint32_t randNum;

	for (i = 0; i < size; i++) {
		HAL_RNG_GenerateRandomNumber(&hrng, &randNum);
		randNum = (randNum % (max - min + 1)) + min;
		arr[i] = (int)randNum;
	}
}

void random_array_ntt_intt() {
	generate_random_array(randArr, 256, 0, 3328);

	HAL_TIM_Base_Start(&htim2);
	int ntt_timeLapse = __HAL_TIM_GET_COUNTER(&htim2);
	ntt (randArr, r1);
	ntt_timeLapse = __HAL_TIM_GET_COUNTER(&htim2) - ntt_timeLapse;

	int intt_timeLapse = __HAL_TIM_GET_COUNTER(&htim2);
	intt(r1, r2);
	intt_timeLapse = __HAL_TIM_GET_COUNTER(&htim2) - intt_timeLapse;
	HAL_TIM_Base_Stop(&htim2);

	char arr1Name[] = "randArr", ntt1Name[] = "NTT of randArr", intt1Name[] = "INTT of r1", str[100];
	printArray(randArr, arr1Name, 256);
	printArray(r1, ntt1Name, 256);
	printArray(r2, intt1Name, 256);

	sprintf(str, "It took %.3f milliseconds to do NTT and %.3f milliseconds to do INTT operations on randArr.\n\n", ((double)ntt_timeLapse / double_precision), ((double)intt_timeLapse / double_precision));
	HAL_UART_Transmit(&huart2, (const uint8_t*)str, strlen(str), 200);
}

void HAL_GPIO_EXTI_Callback(uint16_t GPIO_Pin) {
	if (GPIO_Pin == GPIO_PIN_0) {
		if (last_gpio_exti + 200 > HAL_GetTick())
			return;
		last_gpio_exti = HAL_GetTick();

//		timing_and_iteration_of_arr1_and_arr2();

		random_array_ntt_intt();
	}
}

/* USER CODE END 4 */

void Error_Handler(void)
{
  __disable_irq();
  while (1)
  {
  }
}
